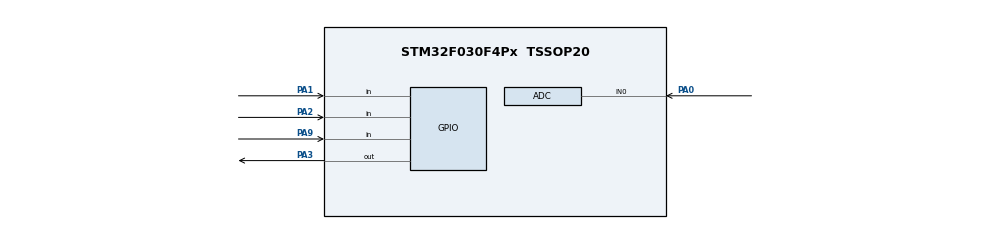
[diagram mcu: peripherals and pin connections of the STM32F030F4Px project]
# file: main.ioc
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ADC.ContinuousConvMode=ENABLE
ADC.EOCSelection=ADC_EOC_SEQ_CONV
Mcu.Family=STM32F0
Mcu.Name=STM32F030F4Px
Mcu.Package=TSSOP20
PA0.Mode=IN0
PA0.Signal=ADC_IN0
PA1.GPIO_PuPd=GPIO_PULLUP
PA1.Signal=GPIO_Input
PA13.Mode=Serial_Wire
PA13.Signal=SYS_SWDIO
PA14.Mode=Serial_Wire
PA14.Signal=SYS_SWCLK
PA2.GPIO_PuPd=GPIO_PULLUP
PA2.Signal=GPIO_Input
PA3.Signal=GPIO_Output
PA9.GPIO_PuPd=GPIO_PULLUP
PA9.Signal=GPIO_Input
ProjectManager.HeapSize=0x200
ProjectManager.StackSize=0x400
ProjectManager.TargetToolchain=Makefile
board=custom

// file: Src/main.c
/* USER CODE BEGIN Header */
/**
  ******************************************************************************
  * @file           : main.c
  * @brief          : Main program body
  ******************************************************************************
  ** This notice applies to any and all portions of this file
  * that are not between comment pairs USER CODE BEGIN and
  * USER CODE END. Other portions of this file, whether
  * inserted by the user or by software development tools
  * are owned by their respective copyright owners.
  *
  * COPYRIGHT(c) 2021 STMicroelectronics
  *
  * Redistribution and use in source and binary forms, with or without modification,
  * are permitted provided that the following conditions are met:
  *   1. Redistributions of source code must retain the above copyright notice,
  *      this list of conditions and the following disclaimer.
  *   2. Redistributions in binary form must reproduce the above copyright notice,
  *      this list of conditions and the following disclaimer in the documentation
  *      and/or other materials provided with the distribution.
  *   3. Neither the name of STMicroelectronics nor the names of its contributors
  *      may be used to endorse or promote products derived from this software
  *      without specific prior written permission.
  *
  * THIS SOFTWARE IS PROVIDED BY THE COPYRIGHT HOLDERS AND CONTRIBUTORS "AS IS"
  * AND ANY EXPRESS OR IMPLIED WARRANTIES, INCLUDING, BUT NOT LIMITED TO, THE
  * IMPLIED WARRANTIES OF MERCHANTABILITY AND FITNESS FOR A PARTICULAR PURPOSE ARE
  * DISCLAIMED. IN NO EVENT SHALL THE COPYRIGHT HOLDER OR CONTRIBUTORS BE LIABLE
  * FOR ANY DIRECT, INDIRECT, INCIDENTAL, SPECIAL, EXEMPLARY, OR CONSEQUENTIAL
  * DAMAGES (INCLUDING, BUT NOT LIMITED TO, PROCUREMENT OF SUBSTITUTE GOODS OR
  * SERVICES; LOSS OF USE, DATA, OR PROFITS; OR BUSINESS INTERRUPTION) HOWEVER
  * CAUSED AND ON ANY THEORY OF LIABILITY, WHETHER IN CONTRACT, STRICT LIABILITY,
  * OR TORT (INCLUDING NEGLIGENCE OR OTHERWISE) ARISING IN ANY WAY OUT OF THE USE
  * OF THIS SOFTWARE, EVEN IF ADVISED OF THE POSSIBILITY OF SUCH DAMAGE.
  *
  ******************************************************************************
  */
/* USER CODE END Header */

#include "main.h"

/* USER CODE BEGIN Includes */
#include <string.h>
#include <stdbool.h>
/* USER CODE END Includes */

ADC_HandleTypeDef hadc;

void SystemClock_Config(void);
static void MX_GPIO_Init(void);
static void MX_ADC_Init(void);

/* USER CODE BEGIN 0 */

#define LOOP_DELAY 5

int8_t ditTimeMs = 63;
int32_t sendStart = 0;
int32_t sendFinish = 0;
int32_t keyReadTimeout = 0;
int32_t sendTimeout = 0;
bool isSending = false;

typedef enum {
    CW_SEND_NONE = 0,
    CW_SEND_DIT = 1,
    CW_SEND_DAH = 2,
} CwSend_t;

CwSend_t lastSent = CW_SEND_NONE;
CwSend_t nextSend = CW_SEND_NONE;

void changeKeyerSpeed(uint32_t adc_value) {
    int8_t speedWPM = 10 + (4096-adc_value)*25/4096;
    // 50 is the length in dits of "PARIS "
    // see https://morsecode.world/international/timing.html
    ditTimeMs = 60*1000/(50*speedWPM);
}

void keyDown() {
    HAL_GPIO_WritePin(GPIOA, GPIO_PIN_3, GPIO_PIN_SET);
}

void keyUp() {
    HAL_GPIO_WritePin(GPIOA, GPIO_PIN_3, GPIO_PIN_RESET);
}

bool buttonDitPressed() {
    return (HAL_GPIO_ReadPin(GPIOA, GPIO_PIN_1) == GPIO_PIN_RESET);
}

bool buttonDahPressed() {
    return (HAL_GPIO_ReadPin(GPIOA, GPIO_PIN_2) == GPIO_PIN_RESET);
}

bool iambicBypass() {
    return (HAL_GPIO_ReadPin(GPIOA, GPIO_PIN_9) == GPIO_PIN_RESET);
}

void processStraightKeyerLogic(bool pressed) {
    if(pressed) {
        keyDown();
    } else {
        keyUp();
    }
}

void processIambicKeyerLogic(uint32_t now, bool ditPressed, bool dahPressed) {
    if(isSending && (now >= sendFinish)) {
        keyUp();
        isSending = false;
    }

    if(nextSend == CW_SEND_NONE) {
        if(ditPressed && (lastSent == CW_SEND_DAH)) {
            nextSend = CW_SEND_DIT;
        } else if(dahPressed && (lastSent == CW_SEND_DIT)) {
            nextSend = CW_SEND_DAH;
        } else if(now > keyReadTimeout) {
            if(ditPressed) {
                nextSend = CW_SEND_DIT;
            } else if (dahPressed) {
                nextSend = CW_SEND_DAH;
            }
        }
    }

    if((now > sendTimeout) && (nextSend != CW_SEND_NONE)) {
        if(nextSend == CW_SEND_DIT) {
            sendFinish = now + ditTimeMs;
            keyReadTimeout = now + ditTimeMs*2;
        } else if(nextSend == CW_SEND_DAH) {
            sendFinish = now + ditTimeMs*3;
            keyReadTimeout = now + ditTimeMs*3;
        }

        lastSent = nextSend;
        nextSend = CW_SEND_NONE;
        sendStart = now;
        sendTimeout = sendFinish + ditTimeMs;
        isSending = true;
        keyDown();
    }
}

void init() {
    keyUp();
    HAL_ADC_Start(&hadc);
}

void loop() {
    uint32_t adc_value;
    bool ditPressed = buttonDitPressed();
    bool dahPressed = buttonDahPressed();
    uint32_t now = HAL_GetTick();

    if(iambicBypass()) {
        processStraightKeyerLogic(ditPressed);
    } else {
        processIambicKeyerLogic(now, ditPressed, dahPressed);
    }

    HAL_ADC_PollForConversion(&hadc, HAL_MAX_DELAY);
    adc_value = HAL_ADC_GetValue(&hadc);
    changeKeyerSpeed(adc_value);

    HAL_Delay(LOOP_DELAY);
}

/* USER CODE END 0 */

int main(void)
{

  /* MCU Configuration--------------------------------------------------------*/

  /* Reset of all peripherals, Initializes the Flash interface and the Systick. */
  HAL_Init();

  /* Configure the system clock */
  SystemClock_Config();

  /* Initialize all configured peripherals */
  MX_GPIO_Init();
  MX_ADC_Init();
  /* USER CODE BEGIN 2 */

  init();
  /* USER CODE END 2 */

  /* Infinite loop */
  /* USER CODE BEGIN WHILE */
  while (1)
  {
    loop();
    /* USER CODE END WHILE */

  }
}

void SystemClock_Config(void)
{
  RCC_OscInitTypeDef RCC_OscInitStruct = {0};
  RCC_ClkInitTypeDef RCC_ClkInitStruct = {0};

  /**Initializes the CPU, AHB and APB busses clocks
  */
  RCC_OscInitStruct.OscillatorType = RCC_OSCILLATORTYPE_HSI|RCC_OSCILLATORTYPE_HSI14;
  RCC_OscInitStruct.HSIState = RCC_HSI_ON;
  RCC_OscInitStruct.HSI14State = RCC_HSI14_ON;
  RCC_OscInitStruct.HSICalibrationValue = RCC_HSICALIBRATION_DEFAULT;
  RCC_OscInitStruct.HSI14CalibrationValue = 16;
  RCC_OscInitStruct.PLL.PLLState = RCC_PLL_NONE;
  if (HAL_RCC_OscConfig(&RCC_OscInitStruct) != HAL_OK)
  {
    Error_Handler();
  }
  /**Initializes the CPU, AHB and APB busses clocks
  */
  RCC_ClkInitStruct.ClockType = RCC_CLOCKTYPE_HCLK|RCC_CLOCKTYPE_SYSCLK
                              |RCC_CLOCKTYPE_PCLK1;
  RCC_ClkInitStruct.SYSCLKSource = RCC_SYSCLKSOURCE_HSI;
  RCC_ClkInitStruct.AHBCLKDivider = RCC_SYSCLK_DIV1;
  RCC_ClkInitStruct.APB1CLKDivider = RCC_HCLK_DIV1;

  if (HAL_RCC_ClockConfig(&RCC_ClkInitStruct, FLASH_LATENCY_0) != HAL_OK)
  {
    Error_Handler();
  }
}

static void MX_ADC_Init(void)
{

  ADC_ChannelConfTypeDef sConfig = {0};

  /**Configure the global features of the ADC (Clock, Resolution, Data Alignment and number of conversion)
  */
  hadc.Instance = ADC1;
  hadc.Init.ClockPrescaler = ADC_CLOCK_ASYNC_DIV1;
  hadc.Init.Resolution = ADC_RESOLUTION_12B;
  hadc.Init.DataAlign = ADC_DATAALIGN_RIGHT;
  hadc.Init.ScanConvMode = ADC_SCAN_DIRECTION_FORWARD;
  hadc.Init.EOCSelection = ADC_EOC_SEQ_CONV;
  hadc.Init.LowPowerAutoWait = DISABLE;
  hadc.Init.LowPowerAutoPowerOff = DISABLE;
  hadc.Init.ContinuousConvMode = ENABLE;
  hadc.Init.DiscontinuousConvMode = DISABLE;
  hadc.Init.ExternalTrigConv = ADC_SOFTWARE_START;
  hadc.Init.ExternalTrigConvEdge = ADC_EXTERNALTRIGCONVEDGE_NONE;
  hadc.Init.DMAContinuousRequests = DISABLE;
  hadc.Init.Overrun = ADC_OVR_DATA_PRESERVED;
  if (HAL_ADC_Init(&hadc) != HAL_OK)
  {
    Error_Handler();
  }
  /**Configure for the selected ADC regular channel to be converted.
  */
  sConfig.Channel = ADC_CHANNEL_0;
  sConfig.Rank = ADC_RANK_CHANNEL_NUMBER;
  sConfig.SamplingTime = ADC_SAMPLETIME_1CYCLE_5;
  if (HAL_ADC_ConfigChannel(&hadc, &sConfig) != HAL_OK)
  {
    Error_Handler();
  }

}

static void MX_GPIO_Init(void)
{
  GPIO_InitTypeDef GPIO_InitStruct = {0};

  /* GPIO Ports Clock Enable */
  __HAL_RCC_GPIOA_CLK_ENABLE();

  /*Configure GPIO pin Output Level */
  HAL_GPIO_WritePin(GPIOA, GPIO_PIN_3, GPIO_PIN_RESET);

  /*Configure GPIO pins : PA1 PA2 PA9 */
  GPIO_InitStruct.Pin = GPIO_PIN_1|GPIO_PIN_2|GPIO_PIN_9;
  GPIO_InitStruct.Mode = GPIO_MODE_INPUT;
  GPIO_InitStruct.Pull = GPIO_PULLUP;
  HAL_GPIO_Init(GPIOA, &GPIO_InitStruct);

  /*Configure GPIO pin : PA3 */
  GPIO_InitStruct.Pin = GPIO_PIN_3;
  GPIO_InitStruct.Mode = GPIO_MODE_OUTPUT_PP;
  GPIO_InitStruct.Pull = GPIO_NOPULL;
  GPIO_InitStruct.Speed = GPIO_SPEED_FREQ_LOW;
  HAL_GPIO_Init(GPIOA, &GPIO_InitStruct);

}

void Error_Handler(void)
{
}

/************************ (C) COPYRIGHT STMicroelectronics *****END OF FILE****/
